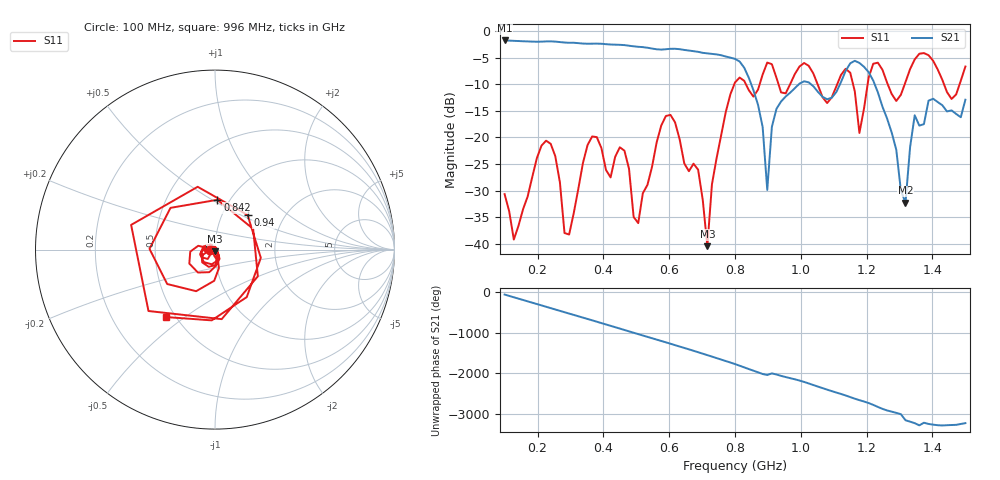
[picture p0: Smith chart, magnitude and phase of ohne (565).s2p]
! NanoVNA-App
! Date: 2025-09-25 14:25:12
! Start: 100MHz Stop: 1,5GHz Points: 101
! S-Parameter data: F S11 S21 S12 S22
# Hz S RI R 50
!  Frequency  S11_Real  S11_Imag  S21_Real  S21_Imag  S12_Real  S12_Imag  S22_Real  S22_Imag
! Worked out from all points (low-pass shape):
!   101 points, 100 MHz to 1.5 GHz, reference 50 ohm
!   highest |S21| = -1.79 dB at 100 MHz (marker M1); lowest = -32.2 dB at 1.318 GHz (marker M2)
!   |S21| within 3 dB of the highest: start of sweep to 771.2 MHz
!   lowest |S11| = -40.4 dB at 716 MHz (marker M3), VSWR 1.02, Z = 49.7 - j0.911 ohm
!   |S11| at or under -10 dB: start of sweep to 798 MHz; 833 MHz to 875 MHz (42.03 MHz wide, 4.92 % of centre); 1.051 GHz to 1.111 GHz (59.74 MHz wide, 5.53 % of centre) (the widest 3 of 7)
!   S12 and S22 are empty: the file has one direction only
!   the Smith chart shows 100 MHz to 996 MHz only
!   S11 on the Smith chart (normalised r, x): 100 MHz: 0.94, -0.01; 842 MHz: 0.88, +0.53; 940 MHz: 1.32, +0.55; 996 MHz: 0.45, -0.43
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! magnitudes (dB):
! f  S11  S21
! 100 MHz  -30.6  -1.8
! 128 MHz  -39.1  -1.9
! 226 MHz  -20.6  -2.0
! 296 MHz  -38.2  -2.2
! 338 MHz  -24.8  -2.4
! 464 MHz  -22.5  -2.7
! 506 MHz  -36.1  -3.0
! 576 MHz  -17.7  -3.5
! 688 MHz  -26.0  -3.9
! 716 MHz  -40.4  -4.2
! 800 MHz  -9.7  -5.3
! 842 MHz  -11.1  -8.8
! 898 MHz  -5.9  -29.8
! 940 MHz  -11.5  -13.2
! 996 MHz  -6.7  -9.9
! 1.038 GHz  -8.0  -10.4
! 1.178 GHz  -19.2  -6.0
! 1.22 GHz  -6.2  -9.3
! 1.276 GHz  -11.8  -19.1
! 1.318 GHz  -9.6  -32.2
! 1.346 GHz  -5.4  -15.8
! 1.5 GHz  -6.7  -12.9
